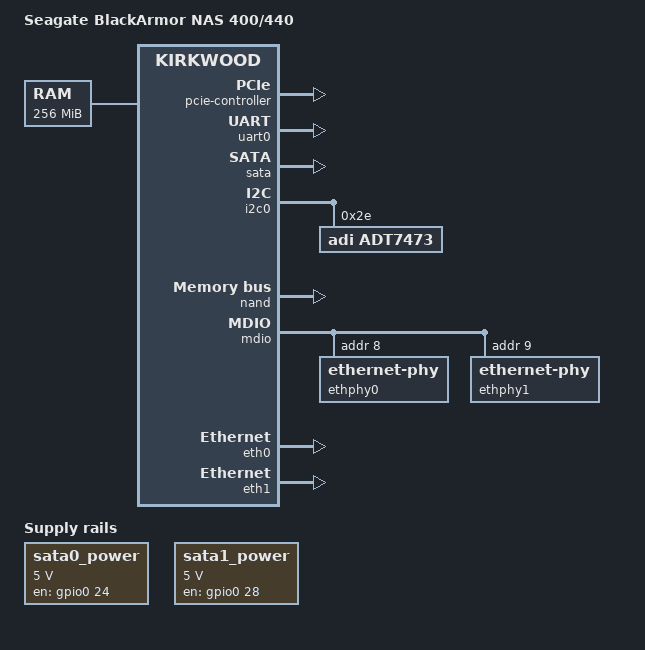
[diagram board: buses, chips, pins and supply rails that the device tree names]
/*
 * Device Tree file for Seagate BlackArmor NAS400
 *
 * Copyright (C) 2015 Andreas Fischer <af@bantuX.org>
 *
 * Licensed under GPLv2 or later.
 */

/dts-v1/;

#include "kirkwood.dtsi"
#include "kirkwood-6281.dtsi"

/ {
	model = "Seagate BlackArmor NAS 400/440";
	compatible = "seagate,blackarmor-nas400", "seagate,blackarmor-nas440",
		"marvell,kirkwood-88f6281", "marvell,kirkwood";

	memory { /* 256 MB */
		device_type = "memory";
		reg = <0x00000000 0x10000000>;
	};

	chosen {
		bootargs = "console=ttyS0,115200n8";
		stdout-path = &uart0;
	};

	mbus {
		pcie-controller {
			status = "okay";

			pcie@1,0 {
				status = "okay";
			};
		};
	};

	regulators {
		compatible = "simple-bus";
		#address-cells = <1>;
		#size-cells = <0>;
		pinctrl-0 = <&pmx_power_sata0 &pmx_power_sata1>;
		pinctrl-names = "default";

		sata0_power: regulator@1 {
			compatible = "regulator-fixed";
			reg = <1>;
			regulator-name = "SATA0 Power";
			regulator-min-microvolt = <5000000>;
			regulator-max-microvolt = <5000000>;
			enable-active-high;
			regulator-always-on;
			regulator-boot-on;
			gpio = <&gpio0 24 GPIO_ACTIVE_LOW>;
		};

		sata1_power: regulator@2 {
			compatible = "regulator-fixed";
			reg = <2>;
			regulator-name = "SATA1 Power";
			regulator-min-microvolt = <5000000>;
			regulator-max-microvolt = <5000000>;
			enable-active-high;
			regulator-always-on;
			regulator-boot-on;
			gpio = <&gpio0 28 GPIO_ACTIVE_LOW>;
		};
	};
};

/*
 * Serial port routed to connector CN4
 *
 * pin 1 - TX
 * pin 4 - RX
 * pin 6 - GND
 */
&uart0 {
	status = "okay";
};

&pinctrl {
	pinctrl-0 = <&pmx_button_reset &pmx_button_power>;
	pinctrl-names = "default";

	pmx_act_sata0: pmx-act-sata0 {
		marvell,pins = "mpp15";
		marvell,function = "sata0";
	};

	pmx_act_sata1: pmx-act-sata1 {
		marvell,pins = "mpp16";
		marvell,function = "sata1";
	};

	pmx_power_sata0: pmx-power-sata0 {
		marvell,pins = "mpp24";
		marvell,function = "gpio";
	};

	pmx_power_sata1: pmx-power-sata1 {
		marvell,pins = "mpp28";
		marvell,function = "gpio";
	};

	pmx_button_reset: pmx-button-reset {
		marvell,pins = "mpp29";
		marvell,function = "gpio";
	};

	pmx_button_power: pmx-button-power {
		marvell,pins = "mpp48";
		marvell,function = "gpio";
	};
};

/*
 * Drives 3 and 4 are connected to the 88F6281 SoC.
 * Drives 1 and 2 are connected to a 88SE6121, which is connected via PCIe.
 */
&sata {
	status = "okay";
	nr-ports = <2>;
};

&i2c0 {
	status = "okay";
	adt7473: thermal@2e {
		compatible = "adi,adt7473";
		reg = <0x2e>;
	};
};

&nand {
	status = "okay";
};

&mdio {
	status = "okay";
	ethphy0: ethernet-phy@8 {
		reg = <8>;
	};
	ethphy1: ethernet-phy@9 {
		reg = <9>;
	};
};

&eth0 {
	status = "okay";
	ethernet0-port@0 {
		phy-handle = <&ethphy0>;
	};
};

&eth1 {
	status = "okay";
	ethernet1-port@0 {
		phy-handle = <&ethphy1>;
	};
};
